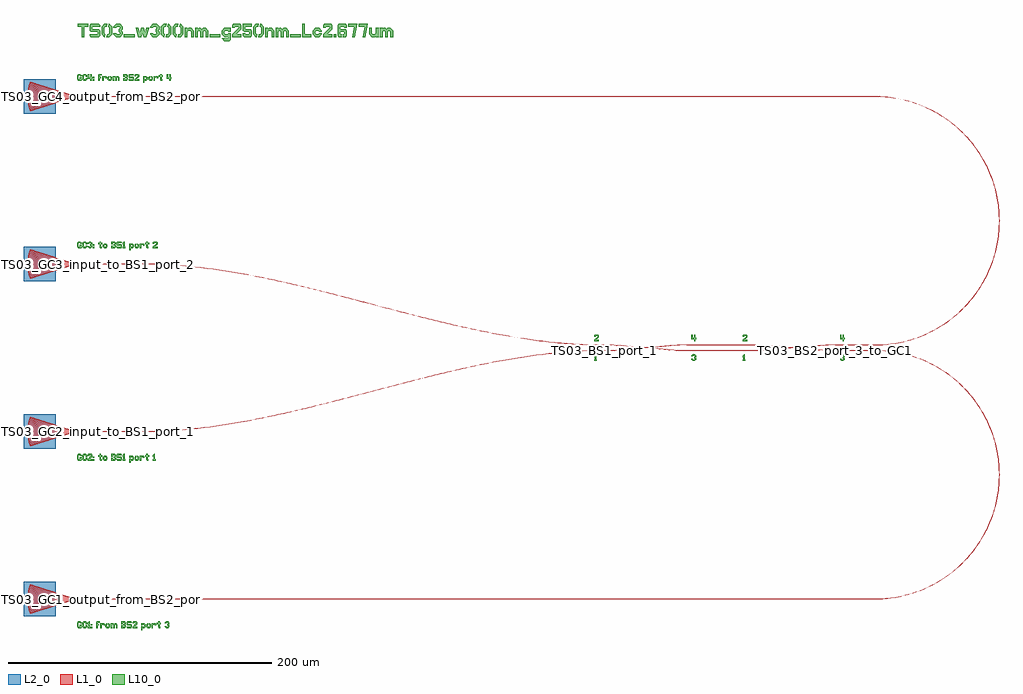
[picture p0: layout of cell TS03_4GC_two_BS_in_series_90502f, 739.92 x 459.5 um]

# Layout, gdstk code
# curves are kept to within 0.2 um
from math import pi, radians
import gdstk
lib = gdstk.Library(unit=1e-6, precision=1e-09)
def R(c, l, rs):  # rectangles x0, y0, x1, y1
    for r in rs: c.add(gdstk.rectangle(r[:2], r[2:], *l))
def P(c, l, *ps):  # polygons
    for p in ps: c.add(gdstk.Polygon(p, *l))
L1_0 = (1, 0)
L2_0 = (2, 0)
L10_0 = (10, 0)

grating_coupler_ellipti_ = lib.new_cell('grating_coupler_ellipti_2639d331')
P(grating_coupler_ellipti_, L1_0, [(15.723,-4.923),(0,-0.25),(0,0.25),(15.723,4.923),(16.379,2.5),(16.6,0),(16.379,-2.5)],
  [(16.17,-5.184),(16.048,-5.018),(16.502,-3.548),(16.798,-2.041),(16.906,-1.023),(16.942,0),(16.906,1.023),(16.798,2.041),(16.502,3.548),(16.048,5.018),(16.17,5.184),(16.37,5.134),(16.698,4.138),(16.954,3.121),(17.202,1.569),(17.286,0),(17.202,-1.569),(16.954,-3.121),(16.698,-4.138),(16.37,-5.134)],
  [(16.819,-5.387),(16.697,-5.221),(17.169,-3.692),(17.438,-2.387),(17.59,-1.065),(17.627,0),(17.59,1.065),(17.438,2.387),(17.169,3.692),(16.697,5.221),(16.819,5.387),(17.019,5.337),(17.36,4.302),(17.626,3.245),(17.884,1.631),(17.971,0),(17.884,-1.631),(17.626,-3.245),(17.36,-4.302),(17.019,-5.337)],
  [(17.469,-5.59),(17.345,-5.424),(17.837,-3.836),(18.115,-2.48),(18.273,-1.106),(18.312,0),(18.273,1.106),(18.115,2.48),(17.837,3.836),(17.345,5.424),(17.469,5.59),(17.669,5.54),(18.021,4.466),(18.298,3.368),(18.566,1.693),(18.656,0),(18.566,-1.693),(18.298,-3.368),(18.021,-4.466),(17.669,-5.54)],
  [(18.117,-5.793),(17.995,-5.627),(18.504,-3.979),(18.793,-2.573),(18.957,-1.147),(18.997,0),(18.957,1.147),(18.793,2.573),(18.504,3.979),(17.995,5.627),(18.117,5.793),(18.317,5.743),(18.683,4.63),(18.97,3.492),(19.248,1.755),(19.341,0),(19.248,-1.755),(18.97,-3.492),(18.683,-4.63),(18.317,-5.743)],
  [(18.767,-5.996),(18.643,-5.83),(19.171,-4.123),(19.47,-2.666),(19.64,-1.189),(19.682,0),(19.64,1.189),(19.47,2.666),(19.171,4.123),(18.643,5.83),(18.767,5.996),(18.967,5.946),(19.345,4.793),(19.641,3.615),(19.929,1.818),(20.026,0),(19.929,-1.818),(19.641,-3.615),(19.345,-4.793),(18.967,-5.946)],
  [(19.416,-6.199),(19.292,-6.034),(19.838,-4.267),(20.148,-2.759),(20.324,-1.23),(20.367,0),(20.324,1.23),(20.148,2.759),(19.838,4.267),(19.292,6.034),(19.416,6.199),(19.616,6.148),(20.007,4.957),(20.313,3.739),(20.611,1.88),(20.711,0),(20.611,-1.88),(20.313,-3.739),(20.007,-4.957),(19.616,-6.148)],
  [(20.063,-6.403),(19.941,-6.237),(20.505,-4.41),(20.826,-2.852),(20.982,-1.589),(21.052,0),(20.982,1.589),(20.826,2.852),(20.505,4.41),(19.941,6.237),(20.063,6.403),(20.263,6.353),(20.668,5.121),(20.985,3.862),(21.293,1.942),(21.396,0),(21.293,-1.942),(20.985,-3.862),(20.668,-5.121),(20.263,-6.353)],
  [(20.712,-6.606),(20.59,-6.44),(21.089,-4.872),(21.503,-2.945),(21.691,-1.313),(21.737,0),(21.691,1.313),(21.503,2.945),(21.089,4.872),(20.59,6.44),(20.712,6.606),(20.912,6.556),(21.33,5.285),(21.657,3.986),(21.974,2.004),(22.081,0),(21.974,-2.004),(21.657,-3.986),(21.33,-5.285),(20.912,-6.556)],
  [(21.362,-6.809),(21.238,-6.643),(21.84,-4.698),(22.181,-3.038),(22.374,-1.355),(22.422,0),(22.374,1.355),(22.181,3.038),(21.84,4.698),(21.238,6.643),(21.362,6.809),(21.562,6.759),(21.992,5.448),(22.329,4.109),(22.656,2.066),(22.766,0),(22.656,-2.066),(22.329,-4.109),(21.992,-5.448),(21.562,-6.759)],
  [(22.01,-7.012),(21.888,-6.846),(22.507,-4.841),(22.858,-3.131),(23.058,-1.396),(23.107,0),(23.058,1.396),(22.858,3.131),(22.507,4.841),(21.888,6.846),(22.01,7.012),(22.21,6.962),(22.33,6.628),(22.75,5.27),(23.001,4.233),(23.338,2.128),(23.451,0),(23.338,-2.128),(23.001,-4.233),(22.75,-5.27),(22.33,-6.628),(22.21,-6.962)],
  [(22.66,-7.215),(22.536,-7.049),(23.174,-4.985),(23.536,-3.224),(23.713,-1.796),(23.792,0),(23.713,1.796),(23.536,3.224),(23.174,4.985),(22.536,7.049),(22.66,7.215),(22.86,7.165),(22.982,6.821),(23.414,5.423),(23.673,4.356),(24.02,2.19),(24.136,0),(24.02,-2.19),(23.673,-4.356),(23.414,-5.423),(22.982,-6.821),(22.86,-7.165)],
  [(23.307,-7.418),(23.185,-7.252),(23.841,-5.129),(24.214,-3.317),(24.425,-1.479),(24.477,0),(24.425,1.479),(24.214,3.317),(23.841,5.129),(23.185,7.252),(23.307,7.418),(23.507,7.368),(23.634,7.016),(24.079,5.577),(24.345,4.48),(24.701,2.252),(24.821,0),(24.701,-2.252),(24.345,-4.48),(24.079,-5.577),(23.634,-7.016),(23.507,-7.368)],
  [(23.956,-7.622),(23.834,-7.456),(24.508,-5.273),(24.891,-3.41),(25.078,-1.9),(25.162,0),(25.078,1.9),(24.891,3.41),(24.508,5.273),(23.834,7.456),(23.956,7.622),(24.156,7.572),(24.41,6.841),(24.743,5.731),(25.094,4.225),(25.383,2.314),(25.506,0),(25.383,-2.314),(25.094,-4.225),(24.743,-5.731),(24.41,-6.841),(24.156,-7.572)],
  [(24.606,-7.825),(24.483,-7.659),(25.176,-5.416),(25.569,-3.502),(25.792,-1.562),(25.847,0),(25.792,1.562),(25.569,3.502),(25.176,5.416),(24.483,7.659),(24.606,7.825),(24.805,7.775),(25.066,7.026),(25.408,5.884),(25.768,4.338),(26.065,2.376),(26.191,0),(26.065,-2.376),(25.768,-4.338),(25.408,-5.884),(25.066,-7.026),(24.805,-7.775)],
  [(25.255,-8.028),(25.131,-7.862),(25.843,-5.56),(26.247,-3.595),(26.476,-1.603),(26.532,0),(26.476,1.603),(26.247,3.595),(25.843,5.56),(25.131,7.862),(25.255,8.028),(25.455,7.978),(25.722,7.209),(26.073,6.038),(26.442,4.451),(26.746,2.438),(26.876,0),(26.746,-2.438),(26.442,-4.451),(26.073,-6.038),(25.722,-7.209),(25.455,-7.978)],
  [(25.904,-8.231),(25.78,-8.066),(26.51,-5.704),(26.924,-3.688),(27.159,-1.645),(27.217,0),(27.159,1.645),(26.924,3.688),(26.51,5.704),(25.78,8.066),(25.904,8.231),(26.104,8.18),(26.377,7.393),(26.737,6.192),(27.116,4.565),(27.428,2.501),(27.561,0),(27.428,-2.501),(27.116,-4.565),(26.737,-6.192),(26.377,-7.393),(26.104,-8.18)],
  [(26.553,-8.434),(26.43,-8.268),(27.177,-5.847),(27.602,-3.781),(27.843,-1.686),(27.902,0),(27.843,1.686),(27.602,3.781),(27.177,5.847),(26.43,8.268),(26.553,8.434),(26.752,8.384),(27.033,7.576),(27.402,6.346),(27.79,4.678),(28.11,2.563),(28.246,0),(28.11,-2.563),(27.79,-4.678),(27.402,-6.346),(27.033,-7.576),(26.752,-8.384)],
  [(27.2,-8.637),(27.078,-8.471),(27.494,-7.24),(27.844,-5.991),(28.279,-3.874),(28.492,-2.158),(28.587,0),(28.492,2.158),(28.279,3.874),(27.844,5.991),(27.494,7.24),(27.078,8.471),(27.2,8.637),(27.4,8.587),(27.689,7.76),(28.066,6.499),(28.464,4.791),(28.792,2.625),(28.931,0),(28.792,-2.625),(28.464,-4.791),(28.066,-6.499),(27.689,-7.76),(27.4,-8.587)],
  [(27.85,-8.84),(27.726,-8.674),(28.153,-7.414),(28.511,-6.135),(28.957,-3.967),(29.21,-1.769),(29.272,0),(29.21,1.769),(28.957,3.967),(28.511,6.135),(28.153,7.414),(27.726,8.674),(27.85,8.84),(28.05,8.79),(28.344,7.944),(28.731,6.653),(29.138,4.905),(29.473,2.687),(29.579,1.345),(29.616,0),(29.579,-1.345),(29.473,-2.687),(29.138,-4.905),(28.731,-6.653),(28.344,-7.944),(28.05,-8.79)],
  [(28.498,-9.044),(28.376,-8.878),(28.811,-7.588),(29.179,-6.278),(29.635,-4.06),(29.893,-1.81),(29.957,0),(29.893,1.81),(29.635,4.06),(29.179,6.278),(28.811,7.588),(28.376,8.878),(28.498,9.044),(28.698,8.994),(29,8.126),(29.395,6.807),(29.812,5.018),(30.155,2.749),(30.263,1.376),(30.301,0),(30.263,-1.376),(30.155,-2.749),(29.812,-5.018),(29.395,-6.807),(29,-8.126),(28.698,-8.994)],
  [(29.148,-9.247),(29.024,-9.081),(29.47,-7.761),(29.846,-6.422),(30.312,-4.153),(30.577,-1.852),(30.642,0),(30.577,1.852),(30.312,4.153),(29.846,6.422),(29.47,7.761),(29.024,9.081),(29.148,9.247),(29.348,9.197),(29.656,8.31),(30.06,6.961),(30.486,5.131),(30.837,2.811),(30.948,1.407),(30.986,0),(30.948,-1.407),(30.837,-2.811),(30.486,-5.131),(30.06,-6.961),(29.656,-8.31),(29.348,-9.197)],
  [(29.797,-9.45),(29.673,-9.284),(30.129,-7.935),(30.513,-6.566),(30.99,-4.246),(31.223,-2.366),(31.327,0),(31.223,2.366),(30.99,4.246),(30.513,6.566),(30.129,7.935),(29.673,9.284),(29.797,9.45),(29.997,9.4),(30.311,8.494),(30.724,7.114),(31.16,5.245),(31.4,3.825),(31.565,2.396),(31.671,0),(31.565,-2.396),(31.4,-3.825),(31.16,-5.245),(30.724,-7.114),(30.311,-8.494),(29.997,-9.4)],
  [(30.444,-9.653),(30.322,-9.487),(30.788,-8.11),(31.18,-6.71),(31.667,-4.339),(31.944,-1.935),(32.012,0),(31.944,1.935),(31.667,4.339),(31.18,6.71),(30.788,8.11),(30.322,9.487),(30.444,9.653),(30.644,9.603),(30.967,8.677),(31.389,7.268),(31.834,5.358),(32.2,2.935),(32.316,1.47),(32.356,0),(32.316,-1.47),(32.2,-2.935),(31.834,-5.358),(31.389,-7.268),(30.967,-8.677),(30.644,-9.603)],
  [(31.093,-9.856),(30.971,-9.69),(31.722,-7.332),(32.071,-5.89),(32.345,-4.432),(32.588,-2.469),(32.697,0),(32.588,2.469),(32.345,4.432),(32.071,5.89),(31.722,7.332),(30.971,9.69),(31.093,9.856),(31.293,9.806),(31.622,8.862),(32.054,7.422),(32.508,5.471),(32.882,2.997),(33,1.501),(33.041,0),(33,-1.501),(32.882,-2.997),(32.508,-5.471),(32.054,-7.422),(31.622,-8.862),(31.293,-9.806)],
  [(31.742,-10.059),(31.62,-9.893),(32.105,-8.456),(32.514,-6.997),(33.023,-4.525),(33.311,-2.018),(33.382,0),(33.311,2.018),(33.023,4.525),(32.514,6.997),(32.105,8.456),(31.62,9.893),(31.742,10.059),(31.942,10.009),(32.278,9.044),(32.718,7.576),(33.182,5.585),(33.437,4.073),(33.613,2.551),(33.726,0),(33.613,-2.551),(33.437,-4.073),(33.182,-5.585),(32.718,-7.576),(32.278,-9.044),(31.942,-10.009)],
  [(32.391,-10.263),(32.269,-10.097),(32.764,-8.63),(33.182,-7.141),(33.7,-4.618),(33.994,-2.059),(34.067,0),(33.994,2.059),(33.7,4.618),(33.182,7.141),(32.764,8.63),(32.269,10.097),(32.391,10.263),(32.591,10.213),(32.934,9.228),(33.383,7.729),(33.856,5.698),(34.245,3.121),(34.368,1.563),(34.411,0),(34.368,-1.563),(34.245,-3.121),(33.856,-5.698),(33.383,-7.729),(32.934,-9.228),(32.591,-10.213)],
  [(33.041,-10.466),(32.918,-10.3),(33.423,-8.803),(33.849,-7.284),(34.378,-4.71),(34.678,-2.101),(34.752,0),(34.678,2.101),(34.378,4.71),(33.849,7.284),(33.423,8.803),(32.918,10.3),(33.041,10.466),(33.24,10.416),(33.751,8.905),(34.181,7.368),(34.529,5.811),(34.927,3.184),(35.053,1.594),(35.096,0),(35.053,-1.594),(34.927,-3.184),(34.529,-5.811),(34.181,-7.368),(33.751,-8.905),(33.24,-10.416)],
  [(33.69,-10.669),(33.566,-10.503),(34.082,-8.977),(34.516,-7.428),(35.056,-4.803),(35.362,-2.142),(35.437,0),(35.362,2.142),(35.056,4.803),(34.516,7.428),(34.082,8.977),(33.566,10.503),(33.69,10.669),(33.89,10.619),(34.41,9.079),(34.848,7.512),(35.203,5.925),(35.609,3.246),(35.737,1.625),(35.781,0),(35.737,-1.625),(35.609,-3.246),(35.203,-5.925),(34.848,-7.512),(34.41,-9.079),(33.89,-10.619)],
  [(34.337,-10.872),(34.215,-10.706),(34.74,-9.151),(35.183,-7.572),(35.733,-4.896),(36.002,-2.728),(36.122,0),(36.002,2.728),(35.733,4.896),(35.183,7.572),(34.74,9.151),(34.215,10.706),(34.337,10.872),(34.537,10.822),(34.901,9.778),(35.376,8.191),(35.877,6.038),(36.154,4.404),(36.344,2.758),(36.466,0),(36.344,-2.758),(36.154,-4.404),(35.877,-6.038),(35.376,-8.191),(34.901,-9.778),(34.537,-10.822)],
  [(34.986,-11.075),(34.864,-10.909),(35.399,-9.324),(35.85,-7.715),(36.411,-4.989),(36.729,-2.225),(36.807,0),(36.729,2.225),(36.411,4.989),(35.85,7.715),(35.399,9.324),(34.864,10.909),(34.986,11.075),(35.186,11.025),(35.727,9.426),(36.182,7.799),(36.551,6.151),(36.972,3.37),(37.105,1.687),(37.151,0),(37.105,-1.687),(36.972,-3.37),(36.551,-6.151),(36.182,-7.799),(35.727,-9.426),(35.186,-11.025)])
R(grating_coupler_ellipti_, L2_0, [(15.6,-13.075,40.164,13.075)])

gc_1550_l2r_53f133ce = lib.new_cell('gc_1550_l2r_53f133ce')
gc_1550_l2r_53f133ce.add(gdstk.Reference(grating_coupler_ellipti_, (0,0), rotation=pi))

text_gdsfactorypcompone_ = lib.new_cell('text_gdsfactorypcompone_0cec1d55')
P(text_gdsfactorypcompone_, L10_0, [(0.5,0),(0.5,1),(1,1),(1,3),(0.5,3),(0.5,4),(1.5,5),(2,5),(2,1),(2.5,1),(2.5,0)])

c_text_gdsfactorypcompone_ = lib.new_cell('text_gdsfactorypcompone_bb60dcc4')
P(c_text_gdsfactorypcompone_, L10_0, [(0.5,0),(0.5,1),(3,3.5),(3,4),(1.5,4),(1.5,3.5),(0.5,3.5),(0.5,4.5),(1,5),(3.5,5),(4,4.5),(4,3),(2,1),(4,1),(4,0)])

c_text_gdsfactorypcompone__ = lib.new_cell('text_gdsfactorypcompone_8bb6a0ed')
P(c_text_gdsfactorypcompone__, L10_0, [(1.5,0),(0.5,1),(0.5,1.5),(1.5,1.5),(2,1),(2.5,1),(3,1.5),(2.5,2),(2.5,3),(3,3.5),(2.5,4),(2,4),(1.5,3.5),(0.5,3.5),(0.5,4),(1.5,5),(3,5),(4,4),(4,3),(3.5,2.5),(4,2),(4,1),(3,0)])

c_text_gdsfactorypcompone___ = lib.new_cell('text_gdsfactorypcompone_e2f2af36')
P(c_text_gdsfactorypcompone___, L10_0, [(2.5,0),(2.5,1.5),(0.5,1.5),(0.5,5),(1.5,5),(1.5,2.5),(2.5,2.5),(2.5,5),(3.5,5),(3.5,2.5),(4,2.5),(4,1.5),(3.5,1.5),(3.5,0)])

bs_w300nm_g250nm_lc2_677 = lib.new_cell('BS_w300nm_g250nm_Lc2.677um_e71ab')
P(bs_w300nm_g250nm_lc2_677, L1_0, [(29.833,0.125),(26.826,0.201),(23.655,0.401),(13.153,1.419),(9.324,1.713),(5.998,1.842),(0,1.85),(0,2.15),(6.002,2.142),(9.175,2.022),(13.013,1.733),(24.011,0.675),(27.007,0.493),(29.834,0.425),(34.007,0.439),(37.834,0.615),(41.496,0.918),(49.664,1.733),(53.836,2.041),(56.675,2.142),(62.677,2.15),(62.677,1.85),(56.679,1.842),(53.186,1.703),(49.857,1.449),(41.191,0.588),(37.353,0.283),(34.013,0.139)],
  [(0,-2.15),(0,-1.85),(5.998,-1.842),(9.324,-1.713),(13.153,-1.419),(23.655,-0.401),(26.826,-0.201),(29.833,-0.125),(34.348,-0.147),(38.021,-0.327),(41.691,-0.635),(49.857,-1.449),(54.018,-1.75),(57.178,-1.848),(62.677,-1.85),(62.677,-2.15),(57.176,-2.148),(54.503,-2.074),(50.164,-1.777),(41.496,-0.918),(37.834,-0.615),(34.007,-0.439),(29.834,-0.425),(27.007,-0.493),(24.011,-0.675),(13.013,-1.733),(9.175,-2.022),(6.002,-2.142)])
bs_w300nm_g250nm_lc2_677.add(gdstk.Reference(text_gdsfactorypcompone_, (-8,-10)))
bs_w300nm_g250nm_lc2_677.add(gdstk.Reference(c_text_gdsfactorypcompone_, (-8,5)))
bs_w300nm_g250nm_lc2_677.add(gdstk.Reference(c_text_gdsfactorypcompone__, (65.677,-10)))
bs_w300nm_g250nm_lc2_677.add(gdstk.Reference(c_text_gdsfactorypcompone___, (65.677,5)))
bs_w300nm_g250nm_lc2_677.add(gdstk.Label('BS_port_1_left_bottom', (0,-2), layer=11, texttype=0))
bs_w300nm_g250nm_lc2_677.add(gdstk.Label('BS_port_2_left_top', (0,2), layer=11, texttype=0))
bs_w300nm_g250nm_lc2_677.add(gdstk.Label('BS_port_3_right_bottom_through_of_1', (62.677,-2), layer=11, texttype=0))
bs_w300nm_g250nm_lc2_677.add(gdstk.Label('BS_port_4_right_top', (62.677,2), layer=11, texttype=0))

c_text_gdsfactorypcompone____ = lib.new_cell('text_gdsfactorypcompone_4d8c4608')
R(c_text_gdsfactorypcompone____, L10_0, [(36,0,44,2), (101,0,109,2), (162,0,170,2), (195,0,197,2)])
P(c_text_gdsfactorypcompone____, L10_0, [(47,0),(45,7),(47,7),(48,3.5),(49,7),(51,7),(52,3.5),(53,7),(55,7),(53,0),(51,0),(50,3.5),(49,0)],
  [(82,0),(82,7),(84,7),(84,6),(85,7),(87,7),(89,5),(89,0),(87,0),(87,4),(86,5),(85,5),(84,4),(84,0)],
  [(90,0),(90,7),(92,7),(92,6),(93,7),(94,7),(95,6),(96,7),(98,7),(100,5),(100,0),(98,0),(98,4),(97,5),(96,4),(96,0),(94,0),(94,4),(93,5),(92,4),(92,0)],
  [(112,-3),(110,-1),(115,-1),(115,0),(112.34,0),(110,2),(110,5),(112,7),(117,7),(117,4),(115,4),(115,5),(113,5),(112,4),(112,3),(113,2),(115,2),(115,3),(117,3),(117,-2),(116,-3)],
  [(143,0),(143,7),(145,7),(145,6),(146,7),(148,7),(150,5),(150,0),(148,0),(148,4),(147,5),(146,5),(145,4),(145,0)],
  [(151,0),(151,7),(153,7),(153,6),(154,7),(155,7),(156,6),(157,7),(159,7),(161,5),(161,0),(159,0),(159,4),(158,5),(157,4),(157,0),(155,0),(155,4),(154,5),(153,4),(153,0)],
  [(181,0),(179,2),(179,5),(181,7),(184,7),(186,5),(186,4),(184,4),(183,5),(182,5),(181,4),(181,3),(182,2),(183,2),(184,3),(186,3),(186,2),(184,0)],
  [(224,0),(222,2),(222,7),(224,7),(224,3),(225,2),(226,2),(227,3),(227,7),(229,7),(229,0),(227,0),(227,1),(226,0)],
  [(230,0),(230,7),(232,7),(232,6),(233,7),(234,7),(235,6),(236,7),(238,7),(240,5),(240,0),(238,0),(238,4),(237,5),(236,4),(236,0),(234,0),(234,4),(233,5),(232,4),(232,0)],
  [(4,0),(4,8),(1,8),(1,10),(9,10),(9,8),(6,8),(6,0)],
  [(11,0),(10,1),(10,2),(16,2),(16,4),(11,4),(10,5),(10,9),(11,10),(17,10),(18,9),(18,8),(12,8),(12,6),(17,6),(18,5),(18,1),(17,0)],
  [(21,0),(19,2),(19,8),(21,10),(23.3,10),(22.8,8),(22,8),(21,7),(21,3),(22,2),(21.5,0)],
  [(22.7,0),(23.2,2),(24,2),(25,3),(25,7),(24,8),(24.5,10),(25,10),(27,8),(27,2),(25,0)],
  [(30,0),(28,2),(28,3),(30,3),(31,2),(32,2),(33,3),(32,4),(32,6),(33,7),(32,8),(31,8),(30,7),(28,7),(28,8),(30,10),(33,10),(35,8),(35,6),(34,5),(35,4),(35,2),(33,0)],
  [(58,0),(56,2),(56,3),(58,3),(59,2),(60,2),(61,3),(60,4),(60,6),(61,7),(60,8),(59,8),(58,7),(56,7),(56,8),(58,10),(61,10),(63,8),(63,6),(62,5),(63,4),(63,2),(61,0)],
  [(66,0),(64,2),(64,8),(66,10),(68.3,10),(67.8,8),(67,8),(66,7),(66,3),(67,2),(66.5,0)],
  [(67.7,0),(68.2,2),(69,2),(70,3),(70,7),(69,8),(69.5,10),(70,10),(72,8),(72,2),(70,0)],
  [(75,0),(73,2),(73,8),(75,10),(77.3,10),(76.8,8),(76,8),(75,7),(75,3),(76,2),(75.5,0)],
  [(76.7,0),(77.2,2),(78,2),(79,3),(79,7),(78,8),(78.5,10),(79,10),(81,8),(81,2),(79,0)],
  [(118,0),(118,2),(123,7),(123,8),(120,8),(120,7),(118,7),(118,9),(119,10),(124,10),(125,9),(125,6),(121,2),(125,2),(125,0)],
  [(127,0),(126,1),(126,3),(128,3),(128,2),(131,2),(131,4),(127,4),(126,5),(126,10),(133,10),(133,8),(128,8),(128,6),(132,6),(133,5),(133,1),(132,0)],
  [(136,0),(134,2),(134,8),(136,10),(138.3,10),(137.8,8),(137,8),(136,7),(136,3),(137,2),(136.5,0)],
  [(137.7,0),(138.2,2),(139,2),(140,3),(140,7),(139,8),(139.5,10),(140,10),(142,8),(142,2),(140,0)],
  [(171,0),(171,10),(173,10),(173,2),(178,2),(178,0)],
  [(187,0),(187,2),(192,7),(192,8),(189,8),(189,7),(187,7),(187,9),(188,10),(193,10),(194,9),(194,6),(190,2),(194,2),(194,0)],
  [(199,0),(198,1),(198,9),(199,10),(204,10),(205,9),(205,7),(203,7),(203,8),(200,8),(200,6),(204,6),(205,5),(205,1),(204,0),(202,0),(202,2),(203,2),(203,4),(200,4),(200,2),(201,2),(201,0)],
  [(209,0),(210.6,8),(206,8),(206,10),(213,10),(211,0)],
  [(217,0),(218.6,8),(214,8),(214,10),(221,10),(219,0)])

c_text_gdsfactorypcompone_____ = lib.new_cell('text_gdsfactorypcompone_238089f8')
R(c_text_gdsfactorypcompone_____, L10_0, [(11,0,12,1), (11,2,12,3)])
P(c_text_gdsfactorypcompone_____, L10_0, [(18,0),(18,3.5),(19,3.5),(19,3),(19.5,3.5),(21,3.5),(21.5,3),(21.5,2),(20.5,2),(20.5,2.5),(19.5,2.5),(19,2),(19,0)],
  [(23,0),(22,1),(22,2.5),(23,3.5),(23.5,3.5),(23.5,2.5),(23,2),(23,1.5),(23.5,1),(24,1),(24.5,1.5),(24.5,2),(24,2.5),(24,3.5),(24.5,3.5),(25.5,2.5),(25.5,1),(24.5,0)],
  [(26,0),(26,3.5),(27,3.5),(27,3),(27.5,3.5),(28,3.5),(28.5,3),(29,3.5),(30,3.5),(31,2.5),(31,0),(30,0),(30,2),(29.5,2.5),(29,2),(29,0),(28,0),(28,2),(27.5,2.5),(27,2),(27,0)],
  [(49,-1.5),(49,1.5),(50,1.5),(50,1),(51,1),(51.5,1.5),(51.5,2),(51,2.5),(50,2.5),(50,2),(49,2),(49,3.5),(51.5,3.5),(52.5,2.5),(52.5,1),(51.5,0),(50,0),(50,-1.5)],
  [(54,0),(53,1),(53,2.5),(54,3.5),(54.5,3.5),(54.5,2.5),(54,2),(54,1.5),(54.5,1),(55,1),(55.5,1.5),(55.5,2),(55,2.5),(55,3.5),(55.5,3.5),(56.5,2.5),(56.5,1),(55.5,0)],
  [(57,0),(57,3.5),(58,3.5),(58,3),(58.5,3.5),(60,3.5),(60.5,3),(60.5,2),(59.5,2),(59.5,2.5),(58.5,2.5),(58,2),(58,0)],
  [(1.5,0),(0.5,1),(0.5,4),(1.5,5),(3,5),(4,4),(4,3.5),(3,3.5),(2.5,4),(2,4),(1.5,3.5),(1.5,1.5),(2,1),(3,1),(3,1.5),(2.5,1.5),(2.5,2.5),(4,2.5),(4,0.5),(3.5,0)],
  [(5.5,0),(4.5,1),(4.5,4),(5.5,5),(7,5),(8,4),(8,3),(7,3),(7,3.5),(6.5,4),(6,4),(5.5,3.5),(5.5,1.5),(6,1),(6.5,1),(7,1.5),(7,2),(8,2),(8,1),(7,0)],
  [(8.5,0),(8.5,1),(9,1),(9,3),(8.5,3),(8.5,4),(9.5,5),(10,5),(10,1),(10.5,1),(10.5,0)],
  [(15,0),(15,4.5),(15.5,5),(17.5,5),(17.5,4),(16,4),(16,3),(17,3),(17,2),(16,2),(16,0)],
  [(34,0),(34,2),(35,2),(35,1),(36,1),(36.5,1.5),(36,2),(35.6,2),(35.6,3),(36,3),(36.5,3.5),(36,4),(35,4),(35,3),(34,3),(34,5),(36.5,5),(37.5,4),(37.5,3),(37,2.5),(37.5,2),(37.5,1),(36.5,0)],
  [(38.5,0),(38,0.5),(38,1),(41,1),(41,2),(38.5,2),(38,2.5),(38,4.5),(38.5,5),(41.5,5),(42,4.5),(42,4),(39,4),(39,3),(41.5,3),(42,2.5),(42,0.5),(41.5,0)],
  [(42.5,0),(42.5,1),(45,3.5),(45,4),(43.5,4),(43.5,3.5),(42.5,3.5),(42.5,4.5),(43,5),(45.5,5),(46,4.5),(46,3),(44,1),(46,1),(46,0)],
  [(62.5,0),(62,0.5),(62,3),(61,3),(61,4),(62,4),(62,5),(63,5),(63,4),(64,4),(64,3),(63,3),(63,1),(63.5,1),(63.5,0)],
  [(68,0),(67,1),(67,1.5),(68,1.5),(68.5,1),(69,1),(69.5,1.5),(69,2),(69,3),(69.5,3.5),(69,4),(68.5,4),(68,3.5),(67,3.5),(67,4),(68,5),(69.5,5),(70.5,4),(70.5,3),(70,2.5),(70.5,2),(70.5,1),(69.5,0)])

c_text_gdsfactorypcompone______ = lib.new_cell('text_gdsfactorypcompone_52651011')
R(c_text_gdsfactorypcompone______, L10_0, [(12.5,0,13.5,1), (12.5,2,13.5,3)])
P(c_text_gdsfactorypcompone______, L10_0, [(21,0),(20,1),(20,2.5),(21,3.5),(21.5,3.5),(21.5,2.5),(21,2),(21,1.5),(21.5,1),(22,1),(22.5,1.5),(22.5,2),(22,2.5),(22,3.5),(22.5,3.5),(23.5,2.5),(23.5,1),(22.5,0)],
  [(40,-1.5),(40,1.5),(41,1.5),(41,1),(42,1),(42.5,1.5),(42.5,2),(42,2.5),(41,2.5),(41,2),(40,2),(40,3.5),(42.5,3.5),(43.5,2.5),(43.5,1),(42.5,0),(41,0),(41,-1.5)],
  [(45,0),(44,1),(44,2.5),(45,3.5),(45.5,3.5),(45.5,2.5),(45,2),(45,1.5),(45.5,1),(46,1),(46.5,1.5),(46.5,2),(46,2.5),(46,3.5),(46.5,3.5),(47.5,2.5),(47.5,1),(46.5,0)],
  [(48,0),(48,3.5),(49,3.5),(49,3),(49.5,3.5),(51,3.5),(51.5,3),(51.5,2),(50.5,2),(50.5,2.5),(49.5,2.5),(49,2),(49,0)],
  [(1.5,0),(0.5,1),(0.5,4),(1.5,5),(3,5),(4,4),(4,3.5),(3,3.5),(2.5,4),(2,4),(1.5,3.5),(1.5,1.5),(2,1),(3,1),(3,1.5),(2.5,1.5),(2.5,2.5),(4,2.5),(4,0.5),(3.5,0)],
  [(5.5,0),(4.5,1),(4.5,4),(5.5,5),(7,5),(8,4),(8,3),(7,3),(7,3.5),(6.5,4),(6,4),(5.5,3.5),(5.5,1.5),(6,1),(6.5,1),(7,1.5),(7,2),(8,2),(8,1),(7,0)],
  [(8.5,0),(8.5,1),(11,3.5),(11,4),(9.5,4),(9.5,3.5),(8.5,3.5),(8.5,4.5),(9,5),(11.5,5),(12,4.5),(12,3),(10,1),(12,1),(12,0)],
  [(18,0),(17.5,0.5),(17.5,3),(16.5,3),(16.5,4),(17.5,4),(17.5,5),(18.5,5),(18.5,4),(19.5,4),(19.5,3),(18.5,3),(18.5,1),(19,1),(19,0)],
  [(26.5,0),(26.5,2),(27.5,2),(27.5,1),(28.5,1),(29,1.5),(28.5,2),(28.1,2),(28.1,3),(28.5,3),(29,3.5),(28.5,4),(27.5,4),(27.5,3),(26.5,3),(26.5,5),(29,5),(30,4),(30,3),(29.5,2.5),(30,2),(30,1),(29,0)],
  [(31,0),(30.5,0.5),(30.5,1),(33.5,1),(33.5,2),(31,2),(30.5,2.5),(30.5,4.5),(31,5),(34,5),(34.5,4.5),(34.5,4),(31.5,4),(31.5,3),(34,3),(34.5,2.5),(34.5,0.5),(34,0)],
  [(35,0),(35,1),(35.5,1),(35.5,3),(35,3),(35,4),(36,5),(36.5,5),(36.5,1),(37,1),(37,0)],
  [(53.5,0),(53,0.5),(53,3),(52,3),(52,4),(53,4),(53,5),(54,5),(54,4),(55,4),(55,3),(54,3),(54,1),(54.5,1),(54.5,0)],
  [(58,0),(58,1),(58.5,1),(58.5,3),(58,3),(58,4),(59,5),(59.5,5),(59.5,1),(60,1),(60,0)])

c_text_gdsfactorypcompone_______ = lib.new_cell('text_gdsfactorypcompone_81b03549')
R(c_text_gdsfactorypcompone_______, L10_0, [(12.5,0,13.5,1), (12.5,2,13.5,3)])
P(c_text_gdsfactorypcompone_______, L10_0, [(21,0),(20,1),(20,2.5),(21,3.5),(21.5,3.5),(21.5,2.5),(21,2),(21,1.5),(21.5,1),(22,1),(22.5,1.5),(22.5,2),(22,2.5),(22,3.5),(22.5,3.5),(23.5,2.5),(23.5,1),(22.5,0)],
  [(40,-1.5),(40,1.5),(41,1.5),(41,1),(42,1),(42.5,1.5),(42.5,2),(42,2.5),(41,2.5),(41,2),(40,2),(40,3.5),(42.5,3.5),(43.5,2.5),(43.5,1),(42.5,0),(41,0),(41,-1.5)],
  [(45,0),(44,1),(44,2.5),(45,3.5),(45.5,3.5),(45.5,2.5),(45,2),(45,1.5),(45.5,1),(46,1),(46.5,1.5),(46.5,2),(46,2.5),(46,3.5),(46.5,3.5),(47.5,2.5),(47.5,1),(46.5,0)],
  [(48,0),(48,3.5),(49,3.5),(49,3),(49.5,3.5),(51,3.5),(51.5,3),(51.5,2),(50.5,2),(50.5,2.5),(49.5,2.5),(49,2),(49,0)],
  [(1.5,0),(0.5,1),(0.5,4),(1.5,5),(3,5),(4,4),(4,3.5),(3,3.5),(2.5,4),(2,4),(1.5,3.5),(1.5,1.5),(2,1),(3,1),(3,1.5),(2.5,1.5),(2.5,2.5),(4,2.5),(4,0.5),(3.5,0)],
  [(5.5,0),(4.5,1),(4.5,4),(5.5,5),(7,5),(8,4),(8,3),(7,3),(7,3.5),(6.5,4),(6,4),(5.5,3.5),(5.5,1.5),(6,1),(6.5,1),(7,1.5),(7,2),(8,2),(8,1),(7,0)],
  [(9.5,0),(8.5,1),(8.5,1.5),(9.5,1.5),(10,1),(10.5,1),(11,1.5),(10.5,2),(10.5,3),(11,3.5),(10.5,4),(10,4),(9.5,3.5),(8.5,3.5),(8.5,4),(9.5,5),(11,5),(12,4),(12,3),(11.5,2.5),(12,2),(12,1),(11,0)],
  [(18,0),(17.5,0.5),(17.5,3),(16.5,3),(16.5,4),(17.5,4),(17.5,5),(18.5,5),(18.5,4),(19.5,4),(19.5,3),(18.5,3),(18.5,1),(19,1),(19,0)],
  [(26.5,0),(26.5,2),(27.5,2),(27.5,1),(28.5,1),(29,1.5),(28.5,2),(28.1,2),(28.1,3),(28.5,3),(29,3.5),(28.5,4),(27.5,4),(27.5,3),(26.5,3),(26.5,5),(29,5),(30,4),(30,3),(29.5,2.5),(30,2),(30,1),(29,0)],
  [(31,0),(30.5,0.5),(30.5,1),(33.5,1),(33.5,2),(31,2),(30.5,2.5),(30.5,4.5),(31,5),(34,5),(34.5,4.5),(34.5,4),(31.5,4),(31.5,3),(34,3),(34.5,2.5),(34.5,0.5),(34,0)],
  [(35,0),(35,1),(35.5,1),(35.5,3),(35,3),(35,4),(36,5),(36.5,5),(36.5,1),(37,1),(37,0)],
  [(53.5,0),(53,0.5),(53,3),(52,3),(52,4),(53,4),(53,5),(54,5),(54,4),(55,4),(55,3),(54,3),(54,1),(54.5,1),(54.5,0)],
  [(58,0),(58,1),(60.5,3.5),(60.5,4),(59,4),(59,3.5),(58,3.5),(58,4.5),(58.5,5),(61,5),(61.5,4.5),(61.5,3),(59.5,1),(61.5,1),(61.5,0)])

c_text_gdsfactorypcompone________ = lib.new_cell('text_gdsfactorypcompone_1596018f')
R(c_text_gdsfactorypcompone________, L10_0, [(12.5,0,13.5,1), (12.5,2,13.5,3)])
P(c_text_gdsfactorypcompone________, L10_0, [(19.5,0),(19.5,3.5),(20.5,3.5),(20.5,3),(21,3.5),(22.5,3.5),(23,3),(23,2),(22,2),(22,2.5),(21,2.5),(20.5,2),(20.5,0)],
  [(24.5,0),(23.5,1),(23.5,2.5),(24.5,3.5),(25,3.5),(25,2.5),(24.5,2),(24.5,1.5),(25,1),(25.5,1),(26,1.5),(26,2),(25.5,2.5),(25.5,3.5),(26,3.5),(27,2.5),(27,1),(26,0)],
  [(27.5,0),(27.5,3.5),(28.5,3.5),(28.5,3),(29,3.5),(29.5,3.5),(30,3),(30.5,3.5),(31.5,3.5),(32.5,2.5),(32.5,0),(31.5,0),(31.5,2),(31,2.5),(30.5,2),(30.5,0),(29.5,0),(29.5,2),(29,2.5),(28.5,2),(28.5,0)],
  [(50.5,-1.5),(50.5,1.5),(51.5,1.5),(51.5,1),(52.5,1),(53,1.5),(53,2),(52.5,2.5),(51.5,2.5),(51.5,2),(50.5,2),(50.5,3.5),(53,3.5),(54,2.5),(54,1),(53,0),(51.5,0),(51.5,-1.5)],
  [(55.5,0),(54.5,1),(54.5,2.5),(55.5,3.5),(56,3.5),(56,2.5),(55.5,2),(55.5,1.5),(56,1),(56.5,1),(57,1.5),(57,2),(56.5,2.5),(56.5,3.5),(57,3.5),(58,2.5),(58,1),(57,0)],
  [(58.5,0),(58.5,3.5),(59.5,3.5),(59.5,3),(60,3.5),(61.5,3.5),(62,3),(62,2),(61,2),(61,2.5),(60,2.5),(59.5,2),(59.5,0)],
  [(1.5,0),(0.5,1),(0.5,4),(1.5,5),(3,5),(4,4),(4,3.5),(3,3.5),(2.5,4),(2,4),(1.5,3.5),(1.5,1.5),(2,1),(3,1),(3,1.5),(2.5,1.5),(2.5,2.5),(4,2.5),(4,0.5),(3.5,0)],
  [(5.5,0),(4.5,1),(4.5,4),(5.5,5),(7,5),(8,4),(8,3),(7,3),(7,3.5),(6.5,4),(6,4),(5.5,3.5),(5.5,1.5),(6,1),(6.5,1),(7,1.5),(7,2),(8,2),(8,1),(7,0)],
  [(10.5,0),(10.5,1.5),(8.5,1.5),(8.5,5),(9.5,5),(9.5,2.5),(10.5,2.5),(10.5,5),(11.5,5),(11.5,2.5),(12,2.5),(12,1.5),(11.5,1.5),(11.5,0)],
  [(16.5,0),(16.5,4.5),(17,5),(19,5),(19,4),(17.5,4),(17.5,3),(18.5,3),(18.5,2),(17.5,2),(17.5,0)],
  [(35.5,0),(35.5,2),(36.5,2),(36.5,1),(37.5,1),(38,1.5),(37.5,2),(37.1,2),(37.1,3),(37.5,3),(38,3.5),(37.5,4),(36.5,4),(36.5,3),(35.5,3),(35.5,5),(38,5),(39,4),(39,3),(38.5,2.5),(39,2),(39,1),(38,0)],
  [(40,0),(39.5,0.5),(39.5,1),(42.5,1),(42.5,2),(40,2),(39.5,2.5),(39.5,4.5),(40,5),(43,5),(43.5,4.5),(43.5,4),(40.5,4),(40.5,3),(43,3),(43.5,2.5),(43.5,0.5),(43,0)],
  [(44,0),(44,1),(46.5,3.5),(46.5,4),(45,4),(45,3.5),(44,3.5),(44,4.5),(44.5,5),(47,5),(47.5,4.5),(47.5,3),(45.5,1),(47.5,1),(47.5,0)],
  [(64,0),(63.5,0.5),(63.5,3),(62.5,3),(62.5,4),(63.5,4),(63.5,5),(64.5,5),(64.5,4),(65.5,4),(65.5,3),(64.5,3),(64.5,1),(65,1),(65,0)],
  [(70.5,0),(70.5,1.5),(68.5,1.5),(68.5,5),(69.5,5),(69.5,2.5),(70.5,2.5),(70.5,5),(71.5,5),(71.5,2.5),(72,2.5),(72,1.5),(71.5,1.5),(71.5,0)])

ts03_4gc_two_bs_in_serie = lib.new_cell('TS03_4GC_two_BS_in_series_90502f')
R(ts03_4gc_two_bs_in_serie, L1_0, [(462.677,-2.15,512.677,-1.85), (462.677,1.85,512.677,2.15)])
P(ts03_4gc_two_bs_in_serie, L1_0, [(0,-190.75),(0,-190.25),(50,-190.35),(50,-190.65)],
  [(0,-63.75),(0,-63.25),(50,-63.35),(50,-63.65)],
  [(0,63.25),(0,63.75),(50,63.65),(50,63.35)],
  [(0,190.25),(0,190.75),(50,190.65),(50,190.35)],
  [(50.001,-63.65),(49.999,-63.35),(54.665,-63.318),(61.662,-63.15),(66.326,-62.961),(73.324,-62.567),(77.988,-62.233),(84.986,-61.629),(94.316,-60.641),(103.646,-59.457),(108.312,-58.796),(115.31,-57.723),(126.973,-55.732),(138.637,-53.512),(147.969,-51.589),(159.633,-49.024),(168.965,-46.86),(180.631,-44.039),(189.963,-41.707),(201.629,-38.718),(252.963,-25.288),(266.964,-21.747),(278.632,-18.903),(290.3,-16.184),(301.969,-13.618),(313.638,-11.233),(325.307,-9.055),(336.977,-7.112),(346.313,-5.746),(355.649,-4.561),(364.986,-3.573),(374.323,-2.794),(383.66,-2.239),(388.328,-2.051),(392.997,-1.923),(399.999,-1.85),(400.001,-2.15),(395.335,-2.182),(388.338,-2.35),(383.674,-2.539),(376.676,-2.933),(372.012,-3.267),(365.014,-3.871),(355.684,-4.859),(346.354,-6.043),(341.688,-6.704),(334.69,-7.777),(323.027,-9.768),(311.363,-11.988),(302.031,-13.911),(290.367,-16.476),(281.035,-18.64),(269.369,-21.461),(260.037,-23.793),(248.371,-26.782),(197.037,-40.212),(183.036,-43.753),(171.368,-46.597),(159.7,-49.316),(148.031,-51.882),(136.362,-54.267),(124.693,-56.445),(113.023,-58.388),(103.687,-59.754),(94.351,-60.939),(85.014,-61.927),(75.677,-62.706),(66.34,-63.261),(61.672,-63.449),(57.003,-63.577)],
  [(399.999,1.85),(392.997,1.923),(388.328,2.051),(383.66,2.239),(374.323,2.794),(364.986,3.573),(355.649,4.561),(346.313,5.746),(336.977,7.112),(325.307,9.055),(313.638,11.233),(301.969,13.618),(290.3,16.184),(278.632,18.903),(266.964,21.747),(252.963,25.288),(201.629,38.718),(189.963,41.707),(180.631,44.039),(168.965,46.86),(159.633,49.024),(147.969,51.589),(138.637,53.512),(126.973,55.732),(115.31,57.723),(108.312,58.796),(103.646,59.457),(94.316,60.641),(84.986,61.629),(77.988,62.233),(73.324,62.567),(66.326,62.961),(61.662,63.15),(54.665,63.318),(49.999,63.35),(50.001,63.65),(57.003,63.577),(61.672,63.449),(66.34,63.261),(75.677,62.706),(85.014,61.927),(94.351,60.939),(103.687,59.754),(113.023,58.388),(124.693,56.445),(136.362,54.267),(148.031,51.882),(159.7,49.316),(171.368,46.597),(183.036,43.753),(197.037,40.212),(248.371,26.782),(260.037,23.793),(269.369,21.461),(281.035,18.64),(290.367,16.476),(302.031,13.911),(311.363,11.988),(323.027,9.768),(334.69,7.777),(341.688,6.704),(346.354,6.043),(355.684,4.859),(365.014,3.871),(372.012,3.267),(376.676,2.933),(383.674,2.539),(388.338,2.35),(395.335,2.182),(400.001,2.15)],
  [(50,-190.65),(50,-190.35),(605.354,-190.35),(609.294,-190.267),(613.228,-190.02),(617.148,-189.608),(621.047,-189.032),(624.918,-188.294),(628.756,-187.394),(632.552,-186.334),(636.3,-185.116),(639.995,-183.742),(643.628,-182.215),(645.42,-181.394),(648.95,-179.642),(652.404,-177.743),(654.1,-176.74),(657.428,-174.628),(660.665,-172.378),(663.804,-169.996),(665.336,-168.755),(668.319,-166.18),(671.192,-163.482),(673.95,-160.666),(675.284,-159.215),(677.859,-156.232),(680.307,-153.143),(681.482,-151.561),(683.732,-148.324),(685.844,-144.996),(687.814,-141.583),(689.64,-138.09),(691.319,-134.524),(692.846,-130.891),(694.22,-127.196),(695.438,-123.448),(695.988,-121.555),(696.968,-117.738),(697.787,-113.883),(698.445,-109.996),(698.939,-106.086),(699.124,-104.124),(699.371,-100.19),(699.454,-96.25),(699.433,-94.279),(699.268,-90.341),(698.939,-86.414),(698.445,-82.504),(697.787,-78.617),(697.398,-76.686),(696.498,-72.848),(695.988,-70.945),(694.848,-67.172),(694.22,-65.304),(692.846,-61.609),(691.319,-57.976),(689.64,-54.41),(687.814,-50.917),(685.844,-47.504),(683.732,-44.176),(681.482,-40.939),(679.1,-37.8),(677.859,-36.268),(675.284,-33.285),(672.586,-30.412),(669.77,-27.654),(668.319,-26.32),(665.336,-23.745),(663.804,-22.504),(660.665,-20.122),(657.428,-17.872),(654.1,-15.76),(650.687,-13.79),(647.194,-11.964),(643.628,-10.285),(639.995,-8.758),(636.3,-7.384),(632.552,-6.166),(628.756,-5.106),(624.918,-4.206),(622.987,-3.817),(619.1,-3.159),(615.19,-2.665),(613.228,-2.48),(611.263,-2.336),(607.325,-2.171),(575.354,-2.15),(575.354,-1.85),(605.355,-1.85),(609.307,-1.933),(613.253,-2.181),(617.185,-2.594),(621.097,-3.172),(623.043,-3.522),(626.91,-4.344),(630.74,-5.327),(634.525,-6.47),(636.399,-7.101),(640.105,-8.479),(643.75,-10.011),(645.548,-10.834),(649.089,-12.592),(652.554,-14.497),(655.936,-16.545),(657.594,-17.622),(660.841,-19.879),(663.99,-22.269),(665.527,-23.514),(668.52,-26.097),(671.402,-28.804),(674.169,-31.629),(675.507,-33.084),(678.09,-36.077),(679.335,-37.614),(681.725,-40.763),(683.982,-44.01),(685.059,-45.668),(687.107,-49.05),(689.012,-52.515),(690.77,-56.056),(691.593,-57.854),(693.125,-61.499),(694.503,-65.205),(695.134,-67.079),(696.277,-70.864),(697.26,-74.694),(698.082,-78.561),(698.432,-80.507),(699.01,-84.419),(699.237,-86.383),(699.568,-90.323),(699.671,-92.297),(699.754,-96.25),(699.671,-100.203),(699.423,-104.149),(699.01,-108.081),(698.432,-111.993),(698.082,-113.939),(697.26,-117.806),(696.277,-121.636),(695.134,-125.421),(694.503,-127.295),(693.125,-131.001),(691.593,-134.646),(690.77,-136.444),(689.012,-139.985),(687.107,-143.45),(685.059,-146.832),(683.982,-148.49),(681.725,-151.737),(679.335,-154.886),(678.09,-156.423),(675.507,-159.416),(672.8,-162.298),(669.975,-165.065),(667.037,-167.71),(663.99,-170.231),(660.841,-172.621),(657.594,-174.878),(655.936,-175.955),(652.554,-178.003),(649.089,-179.908),(645.548,-181.666),(643.75,-182.489),(640.105,-184.021),(636.399,-185.399),(634.525,-186.03),(630.74,-187.173),(626.91,-188.156),(623.043,-188.978),(621.097,-189.328),(617.185,-189.906),(613.253,-190.319),(609.307,-190.567),(605.354,-190.65)],
  [(575.354,1.85),(575.354,2.15),(607.325,2.171),(611.263,2.336),(613.228,2.48),(615.19,2.665),(619.1,3.159),(622.987,3.817),(624.918,4.206),(628.756,5.106),(632.552,6.166),(636.3,7.384),(639.995,8.758),(643.628,10.285),(647.194,11.964),(650.687,13.79),(654.1,15.76),(657.428,17.872),(660.665,20.122),(663.804,22.504),(665.336,23.745),(668.319,26.32),(671.192,29.018),(673.95,31.834),(675.284,33.285),(677.859,36.268),(679.1,37.8),(681.482,40.939),(683.732,44.176),(685.844,47.504),(687.814,50.917),(689.64,54.41),(691.319,57.976),(692.846,61.609),(694.22,65.304),(694.848,67.172),(695.988,70.945),(696.498,72.848),(697.398,76.686),(697.787,78.617),(698.445,82.504),(698.939,86.414),(699.268,90.341),(699.433,94.279),(699.454,96.25),(699.371,100.19),(699.124,104.124),(698.939,106.086),(698.445,109.996),(697.787,113.883),(696.968,117.738),(695.988,121.555),(695.438,123.448),(694.22,127.196),(692.846,130.891),(691.319,134.524),(689.64,138.09),(687.814,141.583),(685.844,144.996),(683.732,148.324),(681.482,151.561),(680.307,153.143),(677.859,156.232),(676.587,157.737),(673.95,160.666),(671.192,163.482),(668.319,166.18),(666.841,167.483),(663.804,169.996),(660.665,172.378),(657.428,174.628),(654.1,176.74),(652.404,177.743),(648.95,179.642),(645.42,181.394),(643.628,182.215),(639.995,183.742),(636.3,185.116),(632.552,186.334),(628.756,187.394),(624.918,188.294),(621.047,189.032),(617.148,189.608),(613.228,190.02),(609.294,190.267),(605.354,190.35),(50,190.35),(50,190.65),(605.354,190.65),(609.307,190.567),(613.253,190.319),(617.185,189.906),(621.097,189.328),(624.981,188.587),(628.83,187.684),(632.639,186.621),(636.399,185.399),(640.105,184.021),(643.75,182.489),(645.548,181.666),(649.089,179.908),(652.554,178.003),(655.936,175.955),(657.594,174.878),(660.841,172.621),(663.99,170.231),(665.527,168.986),(668.52,166.403),(671.402,163.696),(674.169,160.871),(675.507,159.416),(678.09,156.423),(680.546,153.324),(682.87,150.125),(685.059,146.832),(687.107,143.45),(689.012,139.985),(689.909,138.224),(691.593,134.646),(693.125,131.001),(694.503,127.295),(695.134,125.421),(696.277,121.636),(697.26,117.806),(698.082,113.939),(698.432,111.993),(699.01,108.081),(699.237,106.117),(699.568,102.177),(699.671,100.203),(699.754,96.25),(699.671,92.297),(699.423,88.351),(699.01,84.419),(698.432,80.507),(698.082,78.561),(697.26,74.694),(696.277,70.864),(695.134,67.079),(694.503,65.205),(693.125,61.499),(691.593,57.854),(689.909,54.276),(688.077,50.772),(686.1,47.348),(683.982,44.01),(681.725,40.763),(679.335,37.614),(678.09,36.077),(675.507,33.084),(672.8,30.202),(669.975,27.435),(668.52,26.097),(665.527,23.514),(663.99,22.269),(660.841,19.879),(657.594,17.622),(654.256,15.504),(650.832,13.527),(647.328,11.695),(643.75,10.011),(640.105,8.479),(636.399,7.101),(634.525,6.47),(630.74,5.327),(626.91,4.344),(623.043,3.522),(619.144,2.863),(617.185,2.594),(613.253,2.181),(611.281,2.036),(607.331,1.871)])
ts03_4gc_two_bs_in_serie.add(gdstk.Reference(gc_1550_l2r_53f133ce, (0,-190.5)))
ts03_4gc_two_bs_in_serie.add(gdstk.Reference(gc_1550_l2r_53f133ce, (0,-63.5)))
ts03_4gc_two_bs_in_serie.add(gdstk.Reference(gc_1550_l2r_53f133ce, (0,63.5)))
ts03_4gc_two_bs_in_serie.add(gdstk.Reference(gc_1550_l2r_53f133ce, (0,190.5)))
ts03_4gc_two_bs_in_serie.add(gdstk.Reference(bs_w300nm_g250nm_lc2_677, (400,0)))
ts03_4gc_two_bs_in_serie.add(gdstk.Reference(bs_w300nm_g250nm_lc2_677, (512.677,0)))
ts03_4gc_two_bs_in_serie.add(gdstk.Reference(c_text_gdsfactorypcompone____, (0,235.5)))
ts03_4gc_two_bs_in_serie.add(gdstk.Reference(c_text_gdsfactorypcompone_____, (0,-212.5)))
ts03_4gc_two_bs_in_serie.add(gdstk.Reference(c_text_gdsfactorypcompone______, (0,-85.5)))
ts03_4gc_two_bs_in_serie.add(gdstk.Reference(c_text_gdsfactorypcompone_______, (0,75.5)))
ts03_4gc_two_bs_in_serie.add(gdstk.Reference(c_text_gdsfactorypcompone________, (0,202.5)))
ts03_4gc_two_bs_in_serie.add(gdstk.Label('TS03_GC1_output_from_BS2_port_3', (0,-190.5), layer=11, texttype=0))
ts03_4gc_two_bs_in_serie.add(gdstk.Label('TS03_GC2_input_to_BS1_port_1', (0,-63.5), layer=11, texttype=0))
ts03_4gc_two_bs_in_serie.add(gdstk.Label('TS03_GC3_input_to_BS1_port_2', (0,63.5), layer=11, texttype=0))
ts03_4gc_two_bs_in_serie.add(gdstk.Label('TS03_GC4_output_from_BS2_port_4', (0,190.5), layer=11, texttype=0))
ts03_4gc_two_bs_in_serie.add(gdstk.Label('TS03_BS1_port_1', (400,-2), layer=11, texttype=0))
ts03_4gc_two_bs_in_serie.add(gdstk.Label('TS03_BS1_port_2', (400,2), layer=11, texttype=0))
ts03_4gc_two_bs_in_serie.add(gdstk.Label('TS03_BS1_port_3_to_BS2_port_1', (462.677,-2), layer=11, texttype=0))
ts03_4gc_two_bs_in_serie.add(gdstk.Label('TS03_BS1_port_4_to_BS2_port_2', (462.677,2), layer=11, texttype=0))
ts03_4gc_two_bs_in_serie.add(gdstk.Label('TS03_BS2_port_1_from_BS1_port_3', (512.677,-2), layer=11, texttype=0))
ts03_4gc_two_bs_in_serie.add(gdstk.Label('TS03_BS2_port_2_from_BS1_port_4', (512.677,2), layer=11, texttype=0))
ts03_4gc_two_bs_in_serie.add(gdstk.Label('TS03_BS2_port_3_to_GC1', (575.354,-2), layer=11, texttype=0))
ts03_4gc_two_bs_in_serie.add(gdstk.Label('TS03_BS2_port_4_to_GC4', (575.354,2), layer=11, texttype=0))

lib.write_gds('TS03_4GC_two_BS_in_series_90502f.gds')
